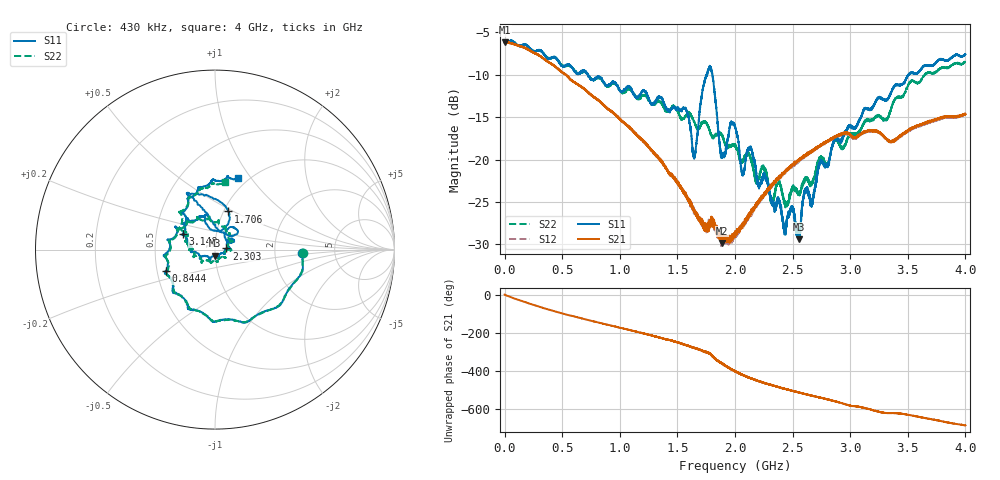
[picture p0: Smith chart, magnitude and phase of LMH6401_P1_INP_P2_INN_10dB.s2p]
!Keysight Technologies N9917A: A.08.18
!Date: Saturday, 27 May 2023 16:30:03
!Timezone: (GMT-07:00) Mountain Time (US & Canada)
!Model: N9917A
!Serial: MY52401314
!GPS Latitude:
!GPS Longitude:
!GPS TimeStamp: 0001-01-01 00:00:00Z
!GPS Seconds Since Last Read: 0
!CHECKSUM:0075446589
!Correction: S11(ON U)S21(ON U)S12(ON U)S22(ON U)
!S2P File: Measurements:S11,S21,S12,S22:
# Hz S DB R 50
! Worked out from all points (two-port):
!   10000 points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, 430 kHz to 4 GHz, reference 50 ohm
!   highest |S21| = -6.19 dB at 1.23 MHz (marker M1); lowest = -29.8 dB at 1.89 GHz (marker M2)
!   |S21| within 3 dB of the highest: start of sweep to 452.7 MHz; 452.9823 MHz to 453.441 MHz (458.7 kHz wide, 0.101 % of centre)
!   lowest |S11| = -29.4 dB at 2.557 GHz (marker M3), VSWR 1.07, Z = 49.6 - j3.36 ohm
!   |S11| at or under -10 dB: 722.7431 MHz to 723.5615 MHz (818.4 kHz wide, 0.113 % of centre); 723.7 MHz to 1.754 GHz (1.031 GHz wide, 83.2 % of centre); 1.804 GHz to 3.507 GHz (1.703 GHz wide, 64.1 % of centre)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
!   |S22| runs from -25.6 to -6.0 dB; largest |S21 - S12| = 0.0058
!   S11 on the Smith chart (normalised r, x): 430 kHz: 2.90, -0.13; 844.4 MHz: 0.56, -0.14; 1.706 GHz: 1.05, +0.47; 2.303 GHz: 1.13, +0.01; 3.148 GHz: 0.69, +0.12; 4 GHz: 0.90, +0.87
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429997  -6.24 -2.1  -6.22 1.7  -6.21 1.7  -6.23 -2.2
1229991  -6.28 -1.5  -6.19 0.1  -6.22 0.3  -6.26 -1.4
3.036277e8  -7.07 -66.7  -7.74 -62.6  -7.76 -62.8  -7.14 -66.1
6.67225e8  -9.78 -132.5  -11.45 -123.6  -11.46 -123.4  -9.74 -130.8
8.444237e8  -10.47 -156.7  -13.39 -149.9  -13.40 -150.4  -10.61 -154.9
1.33362e9  -12.65 131.7  -19.80 137.0  -19.77 137.3  -13.16 135.2
1.572418e9  -14.03 106.9  -24.18 95.4  -24.15 95.9  -14.79 100.5
1.646018e9  -19.91 85.6  -26.06 79.9  -25.82 80.0  -15.57 100.6
1.706017e9  -12.94 70.7  -27.30 66.4  -27.44 68.2  -15.95 82.7
1.792017e9  -9.27 116.2  -27.44 46.4  -27.47 43.9  -16.94 78.8
1.890416e9  -19.28 64.9  -29.83 -0.8  -29.49 -3.0  -17.22 64.7
2.000415e9  -16.10 53.5  -28.64 -42.9  -29.03 -43.1  -18.47 48.1
2.064815e9  -21.65 40.0  -27.79 -60.8  -27.92 -61.7  -20.31 33.2
2.132414e9  -18.53 27.3  -26.19 -78.7  -26.33 -78.5  -19.68 27.2
2.303213e9  -24.06 5.7  -23.38 -113.6  -23.28 -114.7  -24.23 -7.1
2.557211e9  -29.38 -94.5  -20.10 -154.8  -20.20 -155.2  -23.90 -90.8
2.61001e9  -23.70 -118.0  -19.56 -163.1  -19.66 -163.5  -22.22 -107.4
2.66681e9  -25.09 -134.3  -18.98 -172.0  -19.07 -171.9  -23.12 -120.8
2.739609e9  -20.18 -149.7  -18.34 178.2  -18.40 178.0  -19.84 -135.7
3.148006e9  -14.05 154.3  -16.67 119.8  -16.68 119.7  -15.35 164.6
3.333605e9  -12.65 133.2  -17.75 96.3  -17.81 95.8  -14.93 150.3
4e9  -7.59 71.8  -14.66 31.6  -14.73 32.8  -8.40 81.3
